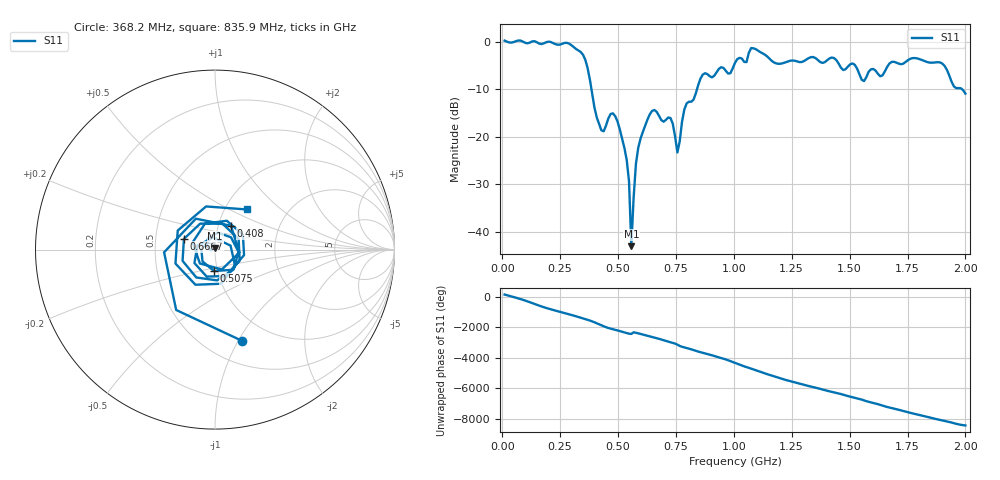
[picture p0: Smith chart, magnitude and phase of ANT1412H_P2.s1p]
!Created with skrf (http://scikit-rf.org).
# Hz S RI R 50.0
!freq ReS11 ImS11
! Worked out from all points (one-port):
!   201 points, 10 MHz to 2 GHz, reference 50 ohm
!   lowest |S11| = -42.9 dB at 557.2 MHz (marker M1), VSWR 1.01, Z = 50.1 + j0.702 ohm
!   |S11| at or under -10 dB: 385 MHz to 841 MHz (456 MHz wide, 74.4 % of centre); 1.985 GHz to end of sweep
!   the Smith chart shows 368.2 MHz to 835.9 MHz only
!   S11 on the Smith chart (normalised r, x): 368.2 MHz: 0.73, -1.04; 408 MHz: 1.15, +0.31; 507.5 MHz: 0.96, -0.23; 666.7 MHz: 0.70, +0.09; 835.9 MHz: 1.27, +0.62
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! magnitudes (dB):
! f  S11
! 10 MHz  0.2
! 258.8 MHz  -0.5
! 338.4 MHz  -2.2
! 368.2 MHz  -5.5
! 408 MHz  -15.9
! 437.9 MHz  -18.8
! 477.6 MHz  -15.1
! 507.5 MHz  -18.4
! 547.3 MHz  -29.3
! 557.2 MHz  -42.9
! 577.1 MHz  -25.7
! 587.1 MHz  -22.3
! 636.9 MHz  -15.3
! 666.7 MHz  -14.7
! 726.4 MHz  -16.1
! 756.2 MHz  -23.3
! 786.1 MHz  -14.3
! 835.9 MHz  -10.9
! 865.7 MHz  -6.9
! 1.005 GHz  -4.5
! 1.055 GHz  -4.3
! 1.075 GHz  -1.4
! 1.254 GHz  -4.0
! 1.502 GHz  -4.8
! 1.562 GHz  -8.3
! 1.751 GHz  -3.9
! 1.901 GHz  -4.6
! 2 GHz  -10.9
